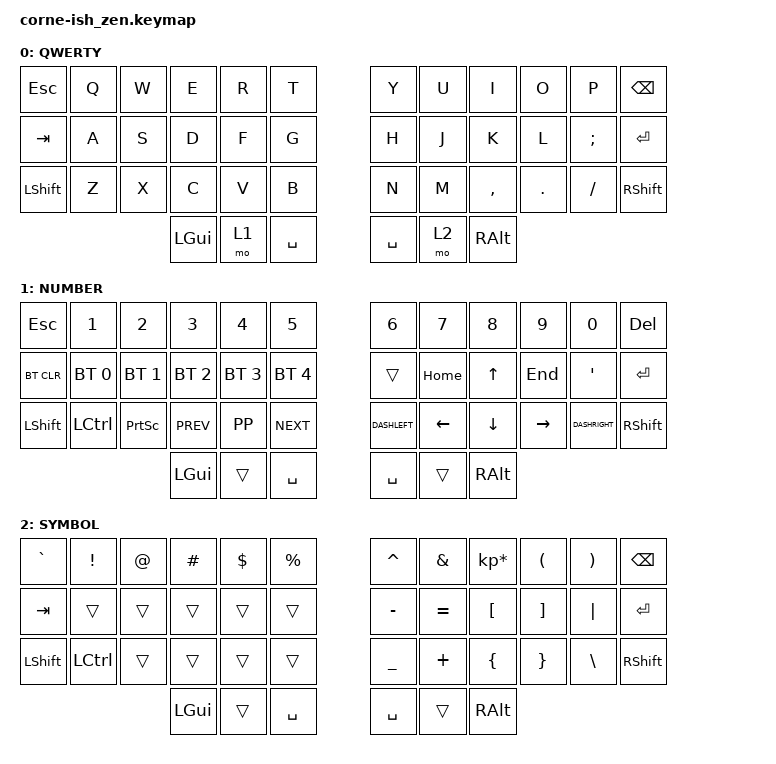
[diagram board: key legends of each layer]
/*
*
* Copyright (c) 2021 Darryl deHaan
* SPDX-License-Identifier: MIT
*
*/

#include <behaviors.dtsi>
#include <dt-bindings/zmk/keys.h>
#include <dt-bindings/zmk/bt.h>


/ {
    macros {
        DASHLEFT: DASHLEFT {
            label = "ZM_zed_em_kay";
            compatible = "zmk,behavior-macro";
            #binding-cells = <0>;
            bindings
                = <&macro_press &kp LCTRL>
                , <&macro_tap &kp LEFT>
                , <&macro_release &kp LCTRL>
                ;
        };
    };
};

/ {
    macros {
        DASHRIGHT: DASHRIGHT {
            label = "ZM_zed_em_kay";
            compatible = "zmk,behavior-macro";
            #binding-cells = <0>;
            bindings
                = <&macro_press &kp LCTRL>
                , <&macro_tap &kp RIGHT>
                , <&macro_release &kp LCTRL>
                ;
        };
    };
};

/ {
        keymap {
                compatible = "zmk,keymap";

                default_layer {
                        label = "QWERTY";
// -----------------------------------------------------------------------------------------
// |  ESC |  Q  |  W  |  E  |  R  |  T  |   |  Y  |  U   |  I  |  O  |  P  | BKSP |
// |  TAB |  A  |  S  |  D  |  F  |  G  |   |  H  |  J   |  K  |  L  |  ;  | ENT  |
// | SHFT |  Z  |  X  |  C  |  V  |  B  |   |  N  |  M   |  ,  |  .  |  /  | SHFT |
//                    | GUI | LWR | SPC |   | SPC | RSE  | ALT |
                        bindings = <
   &kp ESC   &kp Q &kp W &kp E &kp R &kp T   &kp Y &kp U  &kp I     &kp O   &kp P    &kp BSPC
   &kp TAB   &kp A &kp S &kp D &kp F &kp G   &kp H &kp J  &kp K     &kp L   &kp SEMI &kp RET
   &kp LSHFT &kp Z &kp X &kp C &kp V &kp B   &kp N &kp M  &kp COMMA &kp DOT &kp FSLH &kp RSHFT
                &kp LGUI &mo 1 &kp SPACE     &kp SPACE    &mo 2     &kp RALT
                        >;
                };
                lower_layer {
						bindings = <&DASHLEFT>;
						bindings = <&DASHRIGHT>;
                        label = "NUMBER";
// -----------------------------------------------------------------------------------------
// |  ESC |  1  |  2  |  3  |  4  |  5  |   |  6  |  7  |  8  |  9  |  0  | DEL  |
// | BTCLR| BT1 | BT2 | BT3 | BT4 | BT5 |   |     |HOME | UP  | END |  '  |  ENT |
// | SHFT |LCTRL|PSCRN| NEXT|PLAY |PREV |   | DLFT| LFT | DWN | RGT |DRGT | SHFT |
//                    | GUI |     | SPC |   | SPC |     | ALT |
                        bindings = <
   &kp ESC    &kp N1       &kp N2       &kp N3       &kp N4       &kp N5         &kp N6    &kp N7   &kp N8   &kp N9    &kp N0     &kp DEL
   &bt BT_CLR &bt BT_SEL 0 &bt BT_SEL 1 &bt BT_SEL 2 &bt BT_SEL 3 &bt BT_SEL 4   &trans    &kp HOME &kp UP   &kp END   &kp SQT    &kp RET
   &kp LSHFT  &kp LCTRL    &kp PSCRN    &kp K_PREV   &kp K_PP     &kp K_NEXT     &DASHLEFT &kp LEFT &kp DOWN &kp RIGHT &DASHRIGHT &kp RSHFT
                          	        &kp LGUI     &trans       &kp SPACE      &kp SPACE  &trans   &kp RALT
                        >;
                };

                raise_layer {
                        label = "SYMBOL";
// -----------------------------------------------------------------------------------------
// |  `   |  !  |  @  |  #  |  $  |  %  |   |  ^  |  &  |  *  |  (  |  )  | BKSP |
// | TAB  |     |     |     |     |     |   |  -  |  =  |  [  |  ]  | "|" | ENT  |
// | SHFT |LCTRL|     |     |     |     |   |  _  |  +  |  {  |  }  |  \  | SHFT |
//                    | GUI |     | SPC |   | SPC |     | ALT |
                        bindings = <
   &kp GRAVE &kp EXCL &kp AT &kp HASH &kp DLLR &kp PRCNT   &kp CARET &kp AMPS  &kp KP_MULTIPLY &kp LPAR &kp RPAR &kp BKSP
   &kp TAB   &trans   &trans &trans   &trans   &trans      &kp MINUS &kp EQUAL &kp LBKT        &kp RBKT &kp PIPE &kp RET
   &kp LSHFT &kp LCTRL &trans &trans   &trans   &trans      &kp UNDER &kp PLUS  &kp LBRC        &kp RBRC &kp BSLH &kp RSHFT
                    	     &kp LGUI &trans   &kp SPACE   &kp SPACE   &trans    &kp RALT
                        >;
                };
        };
};
